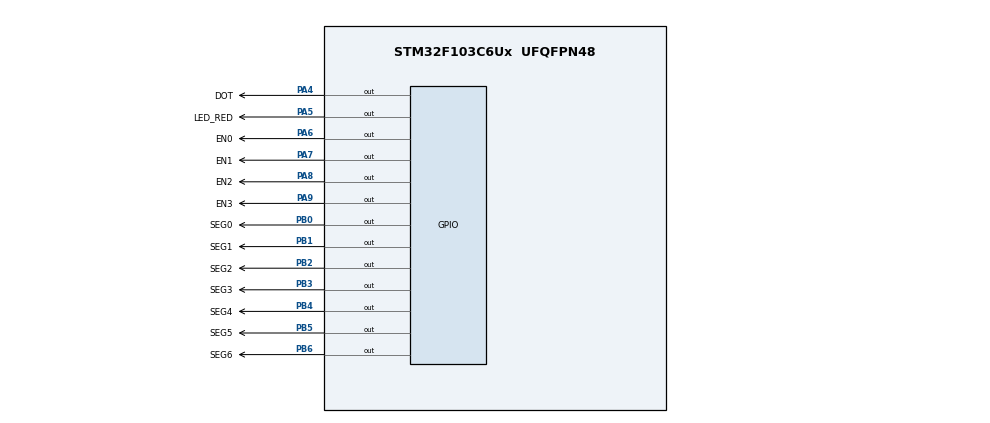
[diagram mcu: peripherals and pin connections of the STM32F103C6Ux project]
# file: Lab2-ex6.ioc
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Mcu.Family=STM32F1
Mcu.Name=STM32F103C6Ux
Mcu.Package=UFQFPN48
NVIC.PriorityGroup=NVIC_PRIORITYGROUP_4
NVIC.TIM2_IRQn=true\:0\:0\:false\:false\:true\:true\:true
PA4.GPIO_Label=DOT
PA4.Signal=GPIO_Output
PA5.GPIO_Label=LED_RED
PA5.Signal=GPIO_Output
PA6.GPIO_Label=EN0
PA6.Signal=GPIO_Output
PA7.GPIO_Label=EN1
PA7.Signal=GPIO_Output
PA8.GPIO_Label=EN2
PA8.Signal=GPIO_Output
PA9.GPIO_Label=EN3
PA9.Signal=GPIO_Output
PB0.GPIO_Label=SEG0
PB0.Signal=GPIO_Output
PB1.GPIO_Label=SEG1
PB1.Signal=GPIO_Output
PB2.GPIO_Label=SEG2
PB2.Signal=GPIO_Output
PB3.GPIO_Label=SEG3
PB3.Signal=GPIO_Output
PB4.GPIO_Label=SEG4
PB4.Signal=GPIO_Output
PB5.GPIO_Label=SEG5
PB5.Signal=GPIO_Output
PB6.GPIO_Label=SEG6
PB6.Signal=GPIO_Output
ProjectManager.HeapSize=0x200
ProjectManager.StackSize=0x400
ProjectManager.TargetToolchain=STM32CubeIDE
RCC.APB1Freq_Value=8000000
RCC.APB2Freq_Value=8000000
TIM2.Period=9
TIM2.Prescaler=7999
VP_SYS_VS_ND.Mode=No_Debug
VP_TIM2_VS_ClockSourceINT.Mode=Internal
board=custom

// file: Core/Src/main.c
/* USER CODE BEGIN Header */
/**
  ******************************************************************************
  * @file           : main.c
  * @brief          : Main program body
  ******************************************************************************
  * @attention
  *
  * <h2><center>&copy; Copyright (c) 2025 STMicroelectronics.
  * All rights reserved.</center></h2>
  *
  * This software component is licensed by ST under BSD 3-Clause license,
  * the "License"; You may not use this file except in compliance with the
  * License. You may obtain a copy of the License at:
  *                        opensource.org/licenses/BSD-3-Clause
  *
  ******************************************************************************
  */
/* USER CODE END Header */
#include "main.h"

TIM_HandleTypeDef htim2;

/* USER CODE BEGIN PV */
int led_buffer[4] = {1, 5, 0, 8};
int index_led = 0;
int hour = 15, minute = 8, second = 50;
/* USER CODE END PV */

void SystemClock_Config(void);
static void MX_GPIO_Init(void);
static void MX_TIM2_Init(void);

/* USER CODE BEGIN 0 */
int TIMER_CYCLE = 10;
// Timer 1: To scan 4 LED 7 segment (T = 500ms)
int timer0_counter = 0;
int timer0_flag = 0;

int timer1_counter = 0;
int timer1_flag = 0;

int timer2_counter = 0;
int timer2_flag = 0;

void setTimer0(int duration) {
    timer0_counter = duration / TIMER_CYCLE;
    timer0_flag = 0;
}

void setTimer1(int duration) {
    timer1_counter = duration / TIMER_CYCLE;
    timer1_flag = 0;
}

void setTimer2(int duration) {
    timer2_counter = duration / TIMER_CYCLE;
    timer2_flag = 0;
}
void timerRun() {
    if (timer0_counter > 0) {
        timer0_counter--;
        if (timer0_counter <= 0) {
            timer0_flag = 1;
        }
    }

    if (timer1_counter > 0) {
		timer1_counter--;
		if (timer1_counter <= 0) {
			timer1_flag = 1;
		}
	}

    if (timer2_counter > 0) {
		timer2_counter--;
		if (timer2_counter <= 0) {
			timer2_flag = 1;
		}
	}
}

void updateClockBuffer() {
	led_buffer[0] = hour / 10;
	led_buffer[1] = hour % 10;
	led_buffer[2] = minute / 10;
	led_buffer[3] = minute % 10;
}
void display7SEG(int num) {
    // Turn off all segment
    HAL_GPIO_WritePin(GPIOB, SEG0_Pin|SEG1_Pin|SEG2_Pin|SEG3_Pin|SEG4_Pin|SEG5_Pin|SEG6_Pin, GPIO_PIN_SET);

    switch (num) {
        case 0:
            HAL_GPIO_WritePin(GPIOB, SEG0_Pin|SEG1_Pin|SEG2_Pin|SEG3_Pin|SEG4_Pin|SEG5_Pin, GPIO_PIN_RESET);
            break;
        case 1:
            HAL_GPIO_WritePin(GPIOB, SEG1_Pin|SEG2_Pin, GPIO_PIN_RESET);
            break;
        case 2:
            HAL_GPIO_WritePin(GPIOB, SEG0_Pin|SEG1_Pin|SEG3_Pin|SEG4_Pin|SEG6_Pin, GPIO_PIN_RESET);
            break;
        case 3:
            HAL_GPIO_WritePin(GPIOB, SEG0_Pin|SEG1_Pin|SEG2_Pin|SEG3_Pin|SEG6_Pin, GPIO_PIN_RESET);
            break;
        case 4:
            HAL_GPIO_WritePin(GPIOB, SEG1_Pin|SEG2_Pin|SEG5_Pin|SEG6_Pin, GPIO_PIN_RESET);
            break;
        case 5:
            HAL_GPIO_WritePin(GPIOB, SEG0_Pin|SEG2_Pin|SEG3_Pin|SEG5_Pin|SEG6_Pin, GPIO_PIN_RESET);
            break;
        case 6:
            HAL_GPIO_WritePin(GPIOB, SEG0_Pin|SEG2_Pin|SEG3_Pin|SEG4_Pin|SEG5_Pin|SEG6_Pin, GPIO_PIN_RESET);
            break;
        case 7:
            HAL_GPIO_WritePin(GPIOB, SEG0_Pin|SEG1_Pin|SEG2_Pin, GPIO_PIN_RESET);
            break;
        case 8:
            HAL_GPIO_WritePin(GPIOB, SEG0_Pin|SEG1_Pin|SEG2_Pin|SEG3_Pin|SEG4_Pin|SEG5_Pin|SEG6_Pin, GPIO_PIN_RESET);
            break;
        case 9:
            HAL_GPIO_WritePin(GPIOB, SEG0_Pin|SEG1_Pin|SEG2_Pin|SEG3_Pin|SEG5_Pin|SEG6_Pin, GPIO_PIN_RESET);
            break;
    }
}

void update7SEG(int index){
	HAL_GPIO_WritePin(EN0_GPIO_Port, EN0_Pin, GPIO_PIN_SET);
	HAL_GPIO_WritePin(EN1_GPIO_Port, EN1_Pin, GPIO_PIN_SET);
	HAL_GPIO_WritePin(EN2_GPIO_Port, EN2_Pin, GPIO_PIN_SET);
	HAL_GPIO_WritePin(EN3_GPIO_Port, EN3_Pin, GPIO_PIN_SET);
	display7SEG( led_buffer[index] );
    switch (index){
        case 0:
            //Display the first 7SEG with led_buffer[0]
            //display7SEG(led_buffer[0]);
            HAL_GPIO_WritePin(EN0_GPIO_Port, EN0_Pin, GPIO_PIN_RESET);
            break;
        case 1:
            //Display the second 7SEG with led_buffer[1]
            //display7SEG(led_buffer[1]);
            HAL_GPIO_WritePin(EN1_GPIO_Port, EN1_Pin, GPIO_PIN_RESET);
            break;
        case 2:
            //Display the third 7SEG with led_buffer[2]
            //display7SEG(led_buffer[2]);
            HAL_GPIO_WritePin(EN2_GPIO_Port, EN2_Pin, GPIO_PIN_RESET);
            break;
        case 3:
            //Display the forth 7SEG with led_buffer[3]
            //display7SEG(led_buffer[3]);
            HAL_GPIO_WritePin(EN3_GPIO_Port, EN3_Pin, GPIO_PIN_RESET);
            break;
        default:
            break;
    }
}
/* USER CODE END 0 */

int main(void)
{

  /* MCU Configuration--------------------------------------------------------*/

  /* Reset of all peripherals, Initializes the Flash interface and the Systick. */
  HAL_Init();

  /* Configure the system clock */
  SystemClock_Config();

  /* Initialize all configured peripherals */
  MX_GPIO_Init();
  MX_TIM2_Init();
  /* USER CODE BEGIN 2 */
  HAL_TIM_Base_Start_IT(&htim2);
  updateClockBuffer();
  setTimer0(10);
  setTimer1(1000);
  setTimer2(1000);
  /* USER CODE END 2 */

  /* Infinite loop */
  /* USER CODE BEGIN WHILE */
  while (1)
  {
	  // ---- TÁC VỤ 1: QUÉT 4 LED 7 ĐOẠN ----
	  if (timer0_flag == 1) {
		  HAL_GPIO_TogglePin (LED_RED_GPIO_Port, LED_RED_Pin );
		  setTimer0(2000); // Đặt lại chu kỳ
	  }

	  if (timer1_flag == 1) {
		// 1s tick: cập nhật đồng hồ
		timer1_flag = 0;      // reset flag ngay
		setTimer1(1000);      // đặt lại 1s

		// Tăng giây
		second++;
		if (second >= 60) {
			second = 0;
			minute++;
			if (minute >= 60) {
				minute = 0;
				hour++;
				if (hour >= 24) hour = 0;
			}
		}

		// cập nhật dữ liệu hiển thị
		updateClockBuffer();

		// (tùy chọn) nhấp nháy dấu chấm mỗi giây
		HAL_GPIO_TogglePin (DOT_GPIO_Port, DOT_Pin );
	  }

	  if (timer2_flag == 1) {
		timer2_flag = 0; // reset
		// Gọi hàm cập nhật 1 đèn LED tại vị trí index_led
		update7SEG(index_led++);

		// Nếu đã quét hết 4 đèn thì quay lại đèn đầu tiên
		if (index_led >= 4) {
			index_led = 0;
		}

		// Đặt lại hẹn cho lần quét đèn tiếp theo sau 4ms
		setTimer2(1000);
	  }
  }
}

void SystemClock_Config(void)
{
  RCC_OscInitTypeDef RCC_OscInitStruct = {0};
  RCC_ClkInitTypeDef RCC_ClkInitStruct = {0};

  /** Initializes the RCC Oscillators according to the specified parameters
  * in the RCC_OscInitTypeDef structure.
  */
  RCC_OscInitStruct.OscillatorType = RCC_OSCILLATORTYPE_HSI;
  RCC_OscInitStruct.HSIState = RCC_HSI_ON;
  RCC_OscInitStruct.HSICalibrationValue = RCC_HSICALIBRATION_DEFAULT;
  RCC_OscInitStruct.PLL.PLLState = RCC_PLL_NONE;
  if (HAL_RCC_OscConfig(&RCC_OscInitStruct) != HAL_OK)
  {
    Error_Handler();
  }
  /** Initializes the CPU, AHB and APB buses clocks
  */
  RCC_ClkInitStruct.ClockType = RCC_CLOCKTYPE_HCLK|RCC_CLOCKTYPE_SYSCLK
                              |RCC_CLOCKTYPE_PCLK1|RCC_CLOCKTYPE_PCLK2;
  RCC_ClkInitStruct.SYSCLKSource = RCC_SYSCLKSOURCE_HSI;
  RCC_ClkInitStruct.AHBCLKDivider = RCC_SYSCLK_DIV1;
  RCC_ClkInitStruct.APB1CLKDivider = RCC_HCLK_DIV1;
  RCC_ClkInitStruct.APB2CLKDivider = RCC_HCLK_DIV1;

  if (HAL_RCC_ClockConfig(&RCC_ClkInitStruct, FLASH_LATENCY_0) != HAL_OK)
  {
    Error_Handler();
  }
}

static void MX_TIM2_Init(void)
{

  TIM_ClockConfigTypeDef sClockSourceConfig = {0};
  TIM_MasterConfigTypeDef sMasterConfig = {0};

  htim2.Instance = TIM2;
  htim2.Init.Prescaler = 7999;
  htim2.Init.CounterMode = TIM_COUNTERMODE_UP;
  htim2.Init.Period = 9;
  htim2.Init.ClockDivision = TIM_CLOCKDIVISION_DIV1;
  htim2.Init.AutoReloadPreload = TIM_AUTORELOAD_PRELOAD_DISABLE;
  if (HAL_TIM_Base_Init(&htim2) != HAL_OK)
  {
    Error_Handler();
  }
  sClockSourceConfig.ClockSource = TIM_CLOCKSOURCE_INTERNAL;
  if (HAL_TIM_ConfigClockSource(&htim2, &sClockSourceConfig) != HAL_OK)
  {
    Error_Handler();
  }
  sMasterConfig.MasterOutputTrigger = TIM_TRGO_RESET;
  sMasterConfig.MasterSlaveMode = TIM_MASTERSLAVEMODE_DISABLE;
  if (HAL_TIMEx_MasterConfigSynchronization(&htim2, &sMasterConfig) != HAL_OK)
  {
    Error_Handler();
  }

}

static void MX_GPIO_Init(void)
{
  GPIO_InitTypeDef GPIO_InitStruct = {0};

  /* GPIO Ports Clock Enable */
  __HAL_RCC_GPIOA_CLK_ENABLE();
  __HAL_RCC_GPIOB_CLK_ENABLE();

  /*Configure GPIO pin Output Level */
  HAL_GPIO_WritePin(GPIOA, DOT_Pin|LED_RED_Pin|EN0_Pin|EN1_Pin
                          |EN2_Pin|EN3_Pin, GPIO_PIN_RESET);

  /*Configure GPIO pin Output Level */
  HAL_GPIO_WritePin(GPIOB, SEG0_Pin|SEG1_Pin|SEG2_Pin|SEG3_Pin
                          |SEG4_Pin|SEG5_Pin|SEG6_Pin, GPIO_PIN_RESET);

  /*Configure GPIO pins : DOT_Pin LED_RED_Pin EN0_Pin EN1_Pin
                           EN2_Pin EN3_Pin */
  GPIO_InitStruct.Pin = DOT_Pin|LED_RED_Pin|EN0_Pin|EN1_Pin
                          |EN2_Pin|EN3_Pin;
  GPIO_InitStruct.Mode = GPIO_MODE_OUTPUT_PP;
  GPIO_InitStruct.Pull = GPIO_NOPULL;
  GPIO_InitStruct.Speed = GPIO_SPEED_FREQ_LOW;
  HAL_GPIO_Init(GPIOA, &GPIO_InitStruct);

  /*Configure GPIO pins : SEG0_Pin SEG1_Pin SEG2_Pin SEG3_Pin
                           SEG4_Pin SEG5_Pin SEG6_Pin */
  GPIO_InitStruct.Pin = SEG0_Pin|SEG1_Pin|SEG2_Pin|SEG3_Pin
                          |SEG4_Pin|SEG5_Pin|SEG6_Pin;
  GPIO_InitStruct.Mode = GPIO_MODE_OUTPUT_PP;
  GPIO_InitStruct.Pull = GPIO_NOPULL;
  GPIO_InitStruct.Speed = GPIO_SPEED_FREQ_LOW;
  HAL_GPIO_Init(GPIOB, &GPIO_InitStruct);

}

/* USER CODE BEGIN 4 */
void HAL_TIM_PeriodElapsedCallback(TIM_HandleTypeDef *htim) {
	timerRun();
}
/* USER CODE END 4 */

void Error_Handler(void)
{
  __disable_irq();
  while (1)
  {
  }
}

/************************ (C) COPYRIGHT STMicroelectronics *****END OF FILE****/
